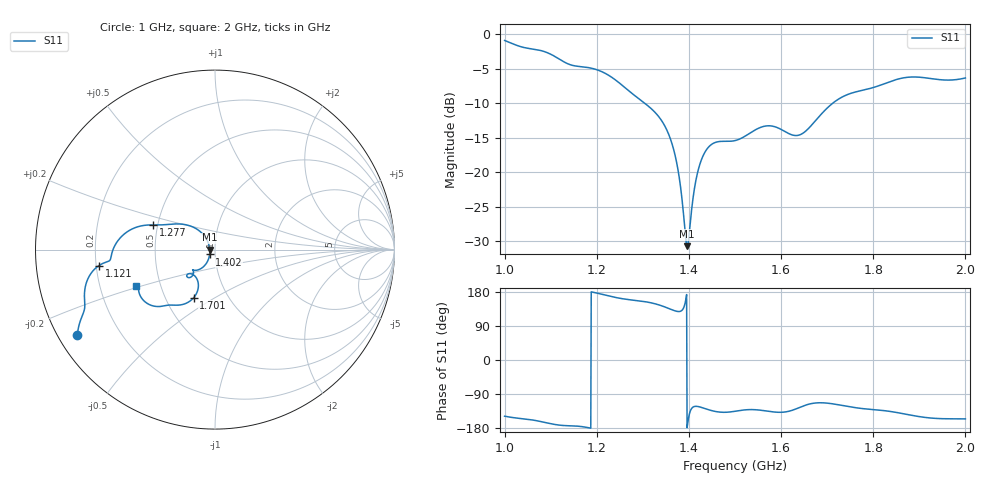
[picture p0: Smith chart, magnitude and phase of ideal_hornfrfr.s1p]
! TOUCHSTONE file generated by CST MICROWAVE STUDIO
! Date and time: Sun Mar 22 23:59:08 2026
! Project name: horn_with_nahcouplingfrfr_petite_2.cst
! Parameters = {Dielectric_Diameter=10.03; backshot=41.2351; backshot_offset=29; conn_met=7; connin=2.8; cutoff_lower=9.36851e+08; cutoff_lower_ghz=0.936851; cutoff_lower_wavelenght=0.32; f_center=1.42; half_wavelenght=140.47; horn_h=513; horn_l=515; horn_w=608; interface_height=20.8; k=0.435276; mt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
! Header version: 2024
! Port assignment regex: !\s*Touchstone port\s*([0-9]+)\s*=\s*(CST MWS port|CST DES external port|CST DES block port)\s*(.+)\s* \(\"(.*)\"\)(\s*mode\s*([0-9]+))?.*
! Touchstone port assignment:
! Touchstone port 1 = CST MWS port 1 ("")
# GHz S MA R 50
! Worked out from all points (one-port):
!   1001 points, 1 GHz to 2 GHz, reference 50 ohm
!   lowest |S11| = -30.7 dB at 1.396 GHz (marker M1), VSWR 1.06, Z = 47.2 - j0.0607 ohm
!   |S11| at or under -10 dB: 1.304 GHz to 1.712 GHz (407.8 MHz wide, 27 % of centre)
!   S11 on the Smith chart (normalised r, x): 1 GHz: 0.06, -0.28; 1.121 GHz: 0.21, -0.07; 1.277 GHz: 0.47, +0.15; 1.402 GHz: 0.94, -0.05; 1.701 GHz: 0.69, -0.41; 2 GHz: 0.36, -0.19
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1  0.9008 -148.3
1.087  0.7469 -164.7
1.121  0.6529 -172.2
1.125  0.641 -172.6
1.166  0.5819 -175.6
1.202  0.5504 176.1
1.25  0.4408 162.9
1.277  0.3715 158.2
1.343  0.2305 142.1
1.361  0.1702 133.6
1.375  0.1103 128.1
1.383  0.0731 129.3
1.392  0.03618 151.4
1.396  0.02923 -178.7
1.402  0.04012 -138.2
1.409  0.06538 -124.2
1.416  0.0905 -122.2
1.433  0.1366 -127.4
1.456  0.1641 -135.5
1.5  0.1698 -135.3
1.569  0.217 -134.7
1.625  0.1861 -132.4
1.651  0.1958 -120.0
1.701  0.294 -113.9
1.75  0.3718 -123.6
1.875  0.4879 -144.0
1.938  0.4712 -154.3
2  0.4821 -155.4
